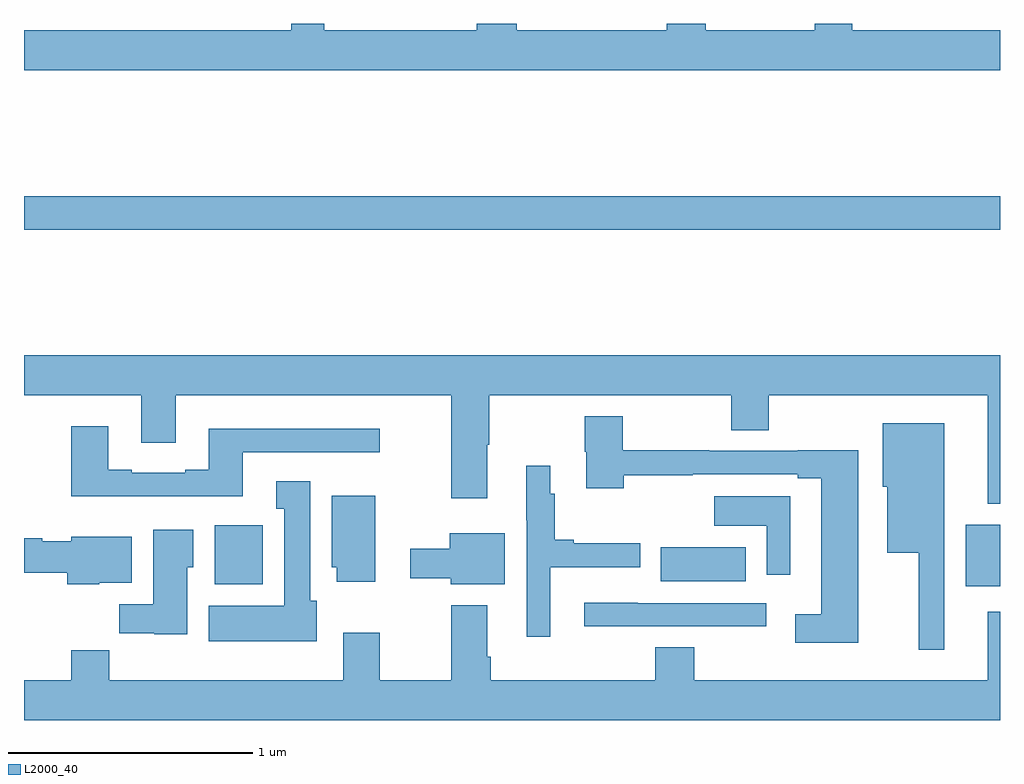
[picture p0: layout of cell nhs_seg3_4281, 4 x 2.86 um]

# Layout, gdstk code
import gdstk
lib = gdstk.Library(unit=1e-6, precision=1e-09)
def R(c, l, rs):  # rectangles x0, y0, x1, y1
    for r in rs: c.add(gdstk.rectangle(r[:2], r[2:], *l))
def P(c, l, *ps):  # polygons
    for p in ps: c.add(gdstk.Polygon(p, *l))
L2000_40 = (2000, 40)

nhs_seg3_4281 = lib.new_cell('nhs_seg3_4281')
R(nhs_seg3_4281, L2000_40, [(340.859,740.093,341,740.347), (337.781,740.102,337.978,740.344), (339.61,740.114,339.959,740.254), (337,741.556,341,741.692)])
P(nhs_seg3_4281, L2000_40, [(341,742.372),(340.395,742.372),(340.395,742.4),(340.24,742.4),(340.24,742.372),(339.795,742.372),(339.795,742.4),(339.635,742.4),(339.635,742.372),(339.02,742.372),(339.02,742.4),(338.855,742.4),(338.855,742.372),(338.231,742.372),(338.231,742.4),(338.095,742.4),(338.095,742.372),(337,742.372),(337,742.208),(341,742.208)],
  [(341,741.04),(337,741.04),(337,740.876),(337.481,740.876),(337.481,740.682),(337.621,740.682),(337.621,740.876),(338.752,740.876),(338.752,740.454),(338.899,740.454),(338.899,740.674),(338.907,740.674),(338.907,740.876),(339.898,740.876),(339.898,740.734),(340.053,740.734),(340.053,740.876),(340.949,740.876),(340.949,740.432),(341,740.432)],
  [(340.42,740.652),(340.172,740.652),(340.172,740.649),(339.809,740.649),(339.809,740.652),(339.453,740.652),(339.453,740.791),(339.298,740.791),(339.298,740.646),(339.305,740.646),(339.305,740.496),(339.458,740.496),(339.458,740.548),(339.74,740.548),(339.74,740.553),(340.172,740.553),(340.172,740.537),(340.268,740.537),(340.268,739.979),(340.161,739.979),(340.161,739.862),(340.42,739.862)],
  [(340.771,740.761),(340.52,740.761),(340.52,740.502),(340.538,740.502),(340.538,740.231),(340.667,740.231),(340.667,739.833),(340.771,739.833)],
  [(337.897,740.643),(338.458,740.643),(338.458,740.74),(337.757,740.74),(337.757,740.572),(337.661,740.572),(337.661,740.559),(337.441,740.559),(337.441,740.572),(337.345,740.572),(337.345,740.749),(337.193,740.749),(337.193,740.462),(337.897,740.462)],
  [(339.157,740.171),(339.525,740.171),(339.525,740.271),(339.253,740.271),(339.253,740.284),(339.176,740.284),(339.176,740.474),(339.157,740.474),(339.157,740.587),(339.059,740.587),(339.059,740.365),(339.06,740.365),(339.06,739.887),(339.157,739.887)],
  [(338.2,740.034),(338.173,740.034),(338.173,740.524),(338.033,740.524),(338.033,740.411),(338.066,740.411),(338.066,740.014),(337.757,740.014),(337.757,739.868),(338.2,739.868)],
  [(338.44,740.464),(338.261,740.464),(338.261,740.172),(338.282,740.172),(338.282,740.112),(338.44,740.112)],
  [(340.14,740.463),(339.828,740.463),(339.828,740.342),(340.044,740.342),(340.044,740.142),(340.14,740.142)],
  [(337.669,740.172),(337.693,740.172),(337.693,740.326),(337.529,740.326),(337.529,740.02),(337.39,740.02),(337.39,739.902),(337.533,739.902),(337.533,739.898),(337.669,739.898)],
  [(338.971,740.311),(338.744,740.311),(338.744,740.248),(338.583,740.248),(338.583,740.126),(338.748,740.126),(338.748,740.102),(338.971,740.102)],
  [(337.308,740.108),(337.441,740.108),(337.441,740.296),(337.194,740.296),(337.194,740.278),(337.074,740.278),(337.074,740.291),(337,740.291),(337,740.149),(337.178,740.149),(337.178,740.102),(337.308,740.102)],
  [(340.042,740.025),(339.516,740.025),(339.516,740.026),(339.297,740.026),(339.297,739.929),(340.042,739.929)],
  [(341,739.99),(340.949,739.99),(340.949,739.708),(339.747,739.708),(339.747,739.844),(339.587,739.844),(339.587,739.708),(338.912,739.708),(338.912,739.804),(338.899,739.804),(338.899,740.017),(338.752,740.017),(338.752,739.708),(338.457,739.708),(338.457,739.903),(338.309,739.903),(338.309,739.708),(337.349,739.708),(337.349,739.832),(337.193,739.832),(337.193,739.708),(337,739.708),(337,739.544),(341,739.544)])

lib.write_gds('nhs_seg3_4281.gds')
